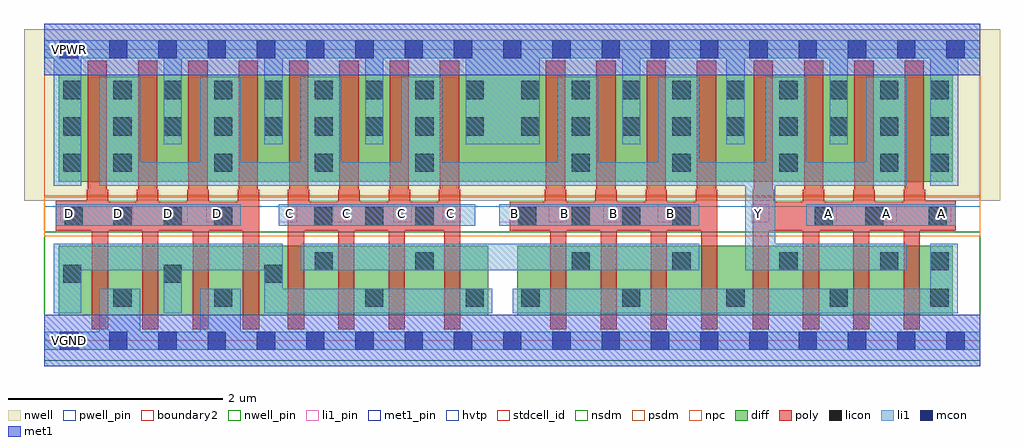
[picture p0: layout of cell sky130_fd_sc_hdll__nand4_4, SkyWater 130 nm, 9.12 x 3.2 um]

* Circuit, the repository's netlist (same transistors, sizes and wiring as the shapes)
* Copyright 2020 The SkyWater PDK Authors
*
* Licensed under the Apache License, Version 2.0 (the "License");
* you may not use this file except in compliance with the License.
* You may obtain a copy of the License at
*
*     https://www.apache.org/licenses/LICENSE-2.0
*
* Unless required by applicable law or agreed to in writing, software
* distributed under the License is distributed on an "AS IS" BASIS,
* WITHOUT WARRANTIES OR CONDITIONS OF ANY KIND, either express or implied.
* See the License for the specific language governing permissions and
* limitations under the License.
*
* SPDX-License-Identifier: Apache-2.0

.SUBCKT sky130_fd_sc_hdll__nand4_4 A B C D VGND VNB VPB VPWR Y
*.PININFO A:I B:I C:I D:I VGND:I VNB:I VPB:I VPWR:I Y:O
MMP0 Y A VPWR VPB sky130_fd_pr__pfet_01v8_hvt m=4 w=1.0U l=0.18U mult=1 sa=0.265
+ sb=0.265 sd=0.28 area=0.063 perim=1.14
MMP1 Y B VPWR VPB sky130_fd_pr__pfet_01v8_hvt m=4 w=1.0U l=0.18U mult=1 sa=0.265
+ sb=0.265 sd=0.28 area=0.063 perim=1.14
MMP3 Y D VPWR VPB sky130_fd_pr__pfet_01v8_hvt m=4 w=1.0U l=0.18U mult=1 sa=0.265
+ sb=0.265 sd=0.28 area=0.063 perim=1.14
MMP2 Y C VPWR VPB sky130_fd_pr__pfet_01v8_hvt m=4 w=1.0U l=0.18U mult=1 sa=0.265
+ sb=0.265 sd=0.28 area=0.063 perim=1.14
MMN0 Y A sndA VNB sky130_fd_pr__nfet_01v8 m=4 w=0.65U l=0.15U mult=1 sa=0.265 sb=0.265
+ sd=0.28 area=0.063 perim=1.14
MMN1 sndA B sndB VNB sky130_fd_pr__nfet_01v8 m=4 w=0.65U l=0.15U mult=1 sa=0.265
+ sb=0.265 sd=0.28 area=0.063 perim=1.14
MMN2 sndB C sndC VNB sky130_fd_pr__nfet_01v8 m=4 w=0.65U l=0.15U mult=1 sa=0.265
+ sb=0.265 sd=0.28 area=0.063 perim=1.14
MMN3 sndC D VGND VNB sky130_fd_pr__nfet_01v8 m=4 w=0.65U l=0.15U mult=1 sa=0.265
+ sb=0.265 sd=0.28 area=0.063 perim=1.14
.ENDS sky130_fd_sc_hdll__nand4_4

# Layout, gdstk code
import gdstk
lib = gdstk.Library(unit=1e-6, precision=1e-09)
def R(c, l, rs):  # rectangles x0, y0, x1, y1
    for r in rs: c.add(gdstk.rectangle(r[:2], r[2:], *l))
def A(c, l, x, y, w, h, nx, ny, dx, dy):  # array of equal rectangles
    R(c, l, [(x+i*dx, y+j*dy, x+i*dx+w, y+j*dy+h) for i in range(nx) for j in range(ny)])
def P(c, l, *ps):  # polygons
    for p in ps: c.add(gdstk.Polygon(p, *l))
nwell_pin = (64, 16)
nwell = (64, 20)
diff = (65, 20)
poly = (66, 20)
licon = (66, 44)
li1_pin = (67, 16)
li1 = (67, 20)
mcon = (67, 44)
met1_pin = (68, 16)
met1 = (68, 20)
hvtp = (78, 44)
stdcell_id = (81, 4)
nsdm = (93, 44)
psdm = (94, 20)
npc = (95, 20)
pwell_pin = (122, 16)
boundary2 = (236, 0)

sky130_fd_sc_hdll__nand4 = lib.new_cell('sky130_fd_sc_hdll__nand4_4')
R(sky130_fd_sc_hdll__nand4, nwell_pin, [(0.15,2.635,0.32,2.805)])
R(sky130_fd_sc_hdll__nand4, nwell, [(-0.19,1.305,8.925,2.91)])
R(sky130_fd_sc_hdll__nand4, diff, [(0.135,0.235,4.145,0.885), (4.415,0.235,8.485,0.885), (0.135,1.485,8.485,2.485)])
P(sky130_fd_sc_hdll__nand4, poly, [(2.005,1.41),(1.995,1.41),(1.995,2.615),(1.815,2.615),(1.815,1.41),(1.805,1.41),(1.805,1.295),(1.535,1.295),(1.535,1.41),(1.525,1.41),(1.525,2.615),(1.345,2.615),(1.345,1.41),(1.335,1.41),(1.335,1.295),(1.065,1.295),(1.065,1.41),(1.055,1.41),(1.055,2.615),(0.875,2.615),(0.875,1.41),(0.865,1.41),(0.865,1.295),(0.595,1.295),(0.595,1.41),(0.585,1.41),(0.585,2.615),(0.405,2.615),(0.405,1.41),(0.395,1.41),(0.395,1.305),(0.105,1.305),(0.105,1.025),(0.445,1.025),(0.445,0.105),(0.595,0.105),(0.595,1.025),(0.915,1.025),(0.915,0.105),(1.065,0.105),(1.065,1.025),(1.385,1.025),(1.385,0.105),(1.535,0.105),(1.535,1.025),(1.855,1.025),(1.855,0.105),(2.005,0.105)],
  [(3.885,1.41),(3.875,1.41),(3.875,2.615),(3.695,2.615),(3.695,1.41),(3.685,1.41),(3.685,1.295),(3.415,1.295),(3.415,1.41),(3.405,1.41),(3.405,2.615),(3.225,2.615),(3.225,1.41),(3.215,1.41),(3.215,1.295),(2.945,1.295),(2.945,1.41),(2.935,1.41),(2.935,2.615),(2.755,2.615),(2.755,1.41),(2.745,1.41),(2.745,1.295),(2.475,1.295),(2.475,1.41),(2.465,1.41),(2.465,2.615),(2.285,2.615),(2.285,1.41),(2.275,1.41),(2.275,0.105),(2.425,0.105),(2.425,1.025),(2.745,1.025),(2.745,0.105),(2.895,0.105),(2.895,1.025),(3.215,1.025),(3.215,0.105),(3.365,0.105),(3.365,1.025),(3.735,1.025),(3.735,0.105),(3.885,0.105)],
  [(6.285,1.41),(6.275,1.41),(6.275,2.615),(6.095,2.615),(6.095,1.41),(6.085,1.41),(6.085,1.295),(5.815,1.295),(5.815,1.41),(5.805,1.41),(5.805,2.615),(5.625,2.615),(5.625,1.41),(5.615,1.41),(5.615,1.295),(5.345,1.295),(5.345,1.41),(5.335,1.41),(5.335,2.615),(5.155,2.615),(5.155,1.41),(5.145,1.41),(5.145,1.295),(4.875,1.295),(4.875,1.41),(4.865,1.41),(4.865,2.615),(4.685,2.615),(4.685,1.41),(4.675,1.41),(4.675,1.295),(4.345,1.295),(4.345,1.025),(4.725,1.025),(4.725,0.105),(4.875,0.105),(4.875,1.025),(5.195,1.025),(5.195,0.105),(5.345,0.105),(5.345,1.025),(5.665,1.025),(5.665,0.105),(5.815,0.105),(5.815,1.025),(6.135,1.025),(6.135,0.105),(6.285,0.105)],
  [(8.51,1.305),(8.225,1.305),(8.225,1.41),(8.215,1.41),(8.215,2.615),(8.035,2.615),(8.035,1.41),(8.025,1.41),(8.025,1.295),(7.755,1.295),(7.755,1.41),(7.745,1.41),(7.745,2.615),(7.565,2.615),(7.565,1.41),(7.555,1.41),(7.555,1.295),(7.285,1.295),(7.285,1.41),(7.275,1.41),(7.275,2.615),(7.095,2.615),(7.095,1.41),(7.085,1.41),(7.085,1.295),(6.815,1.295),(6.815,1.41),(6.805,1.41),(6.805,2.615),(6.625,2.615),(6.625,1.41),(6.615,1.41),(6.615,0.105),(6.765,0.105),(6.765,1.025),(7.085,1.025),(7.085,0.105),(7.235,0.105),(7.235,1.025),(7.555,1.025),(7.555,0.105),(7.705,0.105),(7.705,1.025),(8.025,1.025),(8.025,0.105),(8.175,0.105),(8.175,1.025),(8.51,1.025)])
A(sky130_fd_sc_hdll__nand4, licon, 0.175, 0.54, 0.17, 0.17, 3, 1, 0.94, 0)
A(sky130_fd_sc_hdll__nand4, licon, 0.645, 1.075, 0.17, 0.17, 3, 1, 0.47, 0)
A(sky130_fd_sc_hdll__nand4, licon, 4.925, 1.075, 0.17, 0.17, 3, 1, 0.47, 0)
A(sky130_fd_sc_hdll__nand4, licon, 0.645, 1.575, 0.17, 0.17, 4, 1, 0.94, 0)
A(sky130_fd_sc_hdll__nand4, licon, 0.175, 1.915, 0.17, 0.17, 9, 2, 0.47, 0.34)
A(sky130_fd_sc_hdll__nand4, licon, 4.455, 1.915, 0.17, 0.17, 4, 2, 0.47, 0.34)
A(sky130_fd_sc_hdll__nand4, licon, 6.865, 1.915, 0.17, 0.17, 4, 2, 0.47, 0.34)
R(sky130_fd_sc_hdll__nand4, licon, [(0.645,0.315,0.815,0.485), (1.585,0.315,1.755,0.485), (2.995,0.315,3.165,0.485), (3.935,0.315,4.105,0.485), (4.455,0.315,4.625,0.485), (5.395,0.315,5.565,0.485), (6.37,0.315,6.54,0.485), (7.335,0.315,7.505,0.485), (8.275,0.315,8.445,0.485), (2.525,0.655,2.695,0.825), (3.465,0.655,3.635,0.825), (4.925,0.655,5.095,0.825), (5.865,0.655,6.035,0.825), (6.865,0.655,7.035,0.825), (7.805,0.655,7.975,0.825), (8.275,0.655,8.445,0.825), (0.19,1.075,0.36,1.245), (2.52,1.075,2.69,1.245), (2.995,1.075,3.165,1.245), (3.465,1.075,3.635,1.245), (4.425,1.075,4.595,1.245), (7.195,1.075,7.365,1.245), (7.665,1.075,7.835,1.245), (8.26,1.075,8.43,1.245), (0.175,1.575,0.345,1.745), (4.925,1.575,5.095,1.745), (5.865,1.575,6.035,1.745), (6.865,1.575,7.035,1.745), (7.805,1.575,7.975,1.745), (8.275,1.575,8.445,1.745), (6.37,1.915,6.54,2.085), (6.37,2.255,6.54,2.425)])
A(sky130_fd_sc_hdll__nand4, li1_pin, 0.15, 1.105, 0.17, 0.17, 3, 1, 0.51, 0)
R(sky130_fd_sc_hdll__nand4, li1_pin, [(1.51,1.105,1.68,1.275), (2.19,1.105,2.36,1.275), (2.7,1.105,2.87,1.275), (3.26,1.105,3.43,1.275), (3.72,1.105,3.89,1.275), (4.25,1.105,4.42,1.275), (4.71,1.105,4.88,1.275), (5.22,1.105,5.39,1.275), (5.73,1.105,5.905,1.275), (6.6,1.105,6.77,1.275), (7.23,1.105,7.4,1.275), (7.79,1.105,7.96,1.275), (8.3,1.105,8.47,1.275)])
R(sky130_fd_sc_hdll__nand4, li1, [(2.395,0.655,6.115,0.905), (0.105,1.075,1.835,1.275), (2.19,1.075,4.025,1.275), (4.25,1.075,6.115,1.275), (7.115,1.075,8.51,1.275)])
P(sky130_fd_sc_hdll__nand4, li1, [(8.74,0.085),(1.835,0.085),(1.835,0.485),(1.455,0.485),(1.455,0.085),(0.895,0.085),(0.895,0.485),(0.515,0.485),(0.515,0.085),(0,0.085),(0,-0.085),(8.74,-0.085)],
  [(8.53,0.905),(8.275,0.905),(8.275,0.485),(4.375,0.485),(4.375,0.255),(8.53,0.255)],
  [(4.185,0.485),(2.225,0.485),(2.225,0.905),(0.09,0.905),(0.09,0.255),(0.345,0.255),(0.345,0.655),(1.115,0.655),(1.115,0.255),(1.285,0.255),(1.285,0.655),(2.055,0.655),(2.055,0.255),(4.185,0.255)],
  [(8.74,2.805),(0,2.805),(0,2.635),(0.09,2.635),(0.09,1.445),(0.345,1.445),(0.345,2.635),(1.115,2.635),(1.115,1.835),(1.285,1.835),(1.285,2.635),(2.055,2.635),(2.055,1.835),(2.225,1.835),(2.225,2.635),(2.995,2.635),(2.995,1.835),(3.165,1.835),(3.165,2.635),(3.935,2.635),(3.935,1.835),(4.625,1.835),(4.625,2.635),(5.395,2.635),(5.395,1.835),(5.565,1.835),(5.565,2.635),(6.37,2.635),(6.37,1.835),(6.54,1.835),(6.54,2.635),(7.335,2.635),(7.335,1.835),(7.505,1.835),(7.505,2.635),(8.275,2.635),(8.275,1.445),(8.535,1.445),(8.535,2.635),(8.74,2.635)],
  [(8.055,0.905),(6.825,0.905),(6.825,1.445),(8.055,1.445),(8.055,2.465),(7.675,2.465),(7.675,1.665),(7.115,1.665),(7.115,2.465),(6.735,2.465),(6.735,1.665),(6.115,1.665),(6.115,2.465),(5.735,2.465),(5.735,1.665),(5.175,1.665),(5.175,2.465),(4.795,2.465),(4.795,1.665),(3.715,1.665),(3.715,2.465),(3.335,2.465),(3.335,1.665),(2.775,1.665),(2.775,2.465),(2.395,2.465),(2.395,1.665),(1.835,1.665),(1.835,2.465),(1.455,2.465),(1.455,1.665),(0.895,1.665),(0.895,2.465),(0.515,2.465),(0.515,1.445),(6.545,1.445),(6.545,0.655),(8.055,0.655)])
A(sky130_fd_sc_hdll__nand4, mcon, 0.145, -0.085, 0.17, 0.17, 19, 2, 0.46, 2.72)
R(sky130_fd_sc_hdll__nand4, met1_pin, [(0.15,-0.085,0.32,0.085), (0.15,2.635,0.32,2.805)])
R(sky130_fd_sc_hdll__nand4, met1, [(0,-0.24,8.74,0.24), (0,2.48,8.74,2.96)])
R(sky130_fd_sc_hdll__nand4, hvtp, [(0,1.25,8.74,2.72)])
R(sky130_fd_sc_hdll__nand4, stdcell_id, [(0,0,8.74,2.72)])
R(sky130_fd_sc_hdll__nand4, nsdm, [(0,-0.19,8.74,1.015)])
R(sky130_fd_sc_hdll__nand4, psdm, [(0,1.355,8.74,2.91)])
R(sky130_fd_sc_hdll__nand4, npc, [(0,0.975,8.74,1.345)])
R(sky130_fd_sc_hdll__nand4, pwell_pin, [(0.15,-0.085,0.32,0.085)])
R(sky130_fd_sc_hdll__nand4, boundary2, [(0,0,8.74,2.72)])
sky130_fd_sc_hdll__nand4.add(gdstk.Label('A', (8.38,1.19), layer=67, texttype=5))
sky130_fd_sc_hdll__nand4.add(gdstk.Label('A', (7.865,1.19), layer=67, texttype=5))
sky130_fd_sc_hdll__nand4.add(gdstk.Label('A', (7.325,1.19), layer=67, texttype=5))
sky130_fd_sc_hdll__nand4.add(gdstk.Label('D', (0.235,1.19), layer=67, texttype=5))
sky130_fd_sc_hdll__nand4.add(gdstk.Label('D', (0.695,1.19), layer=67, texttype=5))
sky130_fd_sc_hdll__nand4.add(gdstk.Label('D', (1.155,1.19), layer=67, texttype=5))
sky130_fd_sc_hdll__nand4.add(gdstk.Label('D', (1.615,1.19), layer=67, texttype=5))
sky130_fd_sc_hdll__nand4.add(gdstk.Label('C', (2.29,1.19), layer=67, texttype=5))
sky130_fd_sc_hdll__nand4.add(gdstk.Label('C', (2.825,1.19), layer=67, texttype=5))
sky130_fd_sc_hdll__nand4.add(gdstk.Label('C', (3.795,1.19), layer=67, texttype=5))
sky130_fd_sc_hdll__nand4.add(gdstk.Label('C', (3.335,1.19), layer=67, texttype=5))
sky130_fd_sc_hdll__nand4.add(gdstk.Label('B', (5.85,1.19), layer=67, texttype=5))
sky130_fd_sc_hdll__nand4.add(gdstk.Label('B', (4.395,1.19), layer=67, texttype=5))
sky130_fd_sc_hdll__nand4.add(gdstk.Label('B', (4.855,1.19), layer=67, texttype=5))
sky130_fd_sc_hdll__nand4.add(gdstk.Label('B', (5.315,1.19), layer=67, texttype=5))
sky130_fd_sc_hdll__nand4.add(gdstk.Label('Y', (6.67,1.19), layer=67, texttype=5))
sky130_fd_sc_hdll__nand4.add(gdstk.Label('VPWR', (0.235,2.72), layer=68, texttype=5))
sky130_fd_sc_hdll__nand4.add(gdstk.Label('VGND', (0.235,0), layer=68, texttype=5))
sky130_fd_sc_hdll__nand4.add(gdstk.Label('VPB', (0.235,2.72), layer=64, texttype=5))
sky130_fd_sc_hdll__nand4.add(gdstk.Label('VNB', (0.235,0), layer=64, texttype=59))
sky130_fd_sc_hdll__nand4.add(gdstk.Label('nand4_4', (0,0), layer=83, texttype=44))

lib.write_gds('sky130_fd_sc_hdll__nand4_4.gds')
